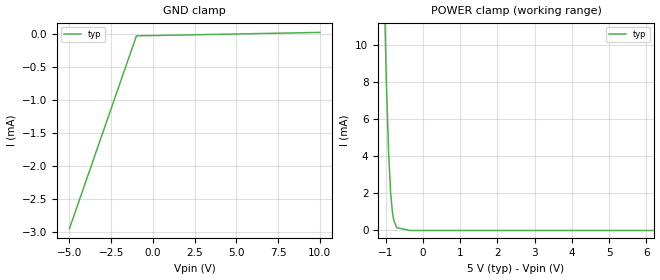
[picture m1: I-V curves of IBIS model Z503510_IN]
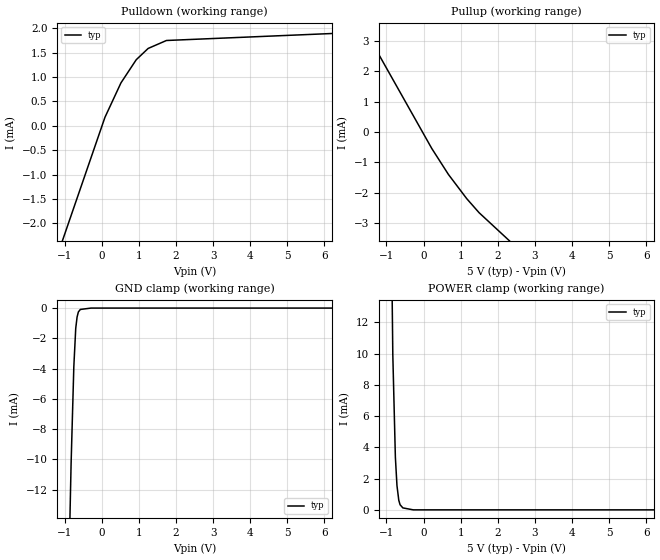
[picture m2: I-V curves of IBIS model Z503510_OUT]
| YOU ARE ONLY AUTHORIZED TO USE THIS SOFTWARE
| ACCORDING TO LICENSOR'S LICENSE RESTRICTIONS.
[IBIS Ver] 3.1
[File Name] mc14027bcp.ibs
[File Rev] 2.0
[Source] Measured and created by ICX Technology
[Date] Friday 7/14/00 9:07:52 AM
[Copyright]
| (C) COPYRIGHT 1993-2000
| MENTOR GRAPHICS CORPORATION
| ICX STANDARD LIBRARY, ICX PROJECT MODELING,
| ICX CUSTOM MODELING, ICX VENDOR MODEL
| ALL RIGHTS RESERVED.
| THE FOLLOWING ARE TRADEMARKS OR SERVICE MARKS OF
| MENTOR GRAPHICS CORPORATION:ICX (R), ICX STANDARD
| LIBRARY(R), ICX PROJECT MODELING(R), ICX CUSTOM
| MODELING(R), qualityIBIS(TM), MODELVIEWER(TM),
| AND MODELEDITOR(TM)
| ALL COPIES OF SOFTWARE, INCLUDING BUT NOT LIMITED TO
| ANY MODIFICATIONS, ENHANCEMENTS OR DERIVATIVE WORKS,
| MUST CONTAIN ALL MENTOR GRAPHICS CORPORATION'S
| NOTICES AND LEGENDS, INCLUDING THOSE EMBEDDED IN
| SOFTWARE AND THOSE AFFIXED TO SOFTWARE MEDIUM
| AND CONTAINER, AS RECEIVED FROM MENTOR GRAPHICS
| CORPORATION.
|  ZAP Model Builder 2.7
[Component] MC14027BCP
[Manufacturer] OnSemiconductor
[Package]
| variable   typ   min   max
R_pkg  .212ohms NA NA
L_pkg  4.758nH NA NA
C_pkg  1.143pF NA NA
[Pin] signal_name  model_name  R_pin  L_pin C_pin
1 QA Z503510_OUT .224 7.258n 1.578p
2 _QA Z503510_OUT .216 5.258n 1.288p
3 CA Z503510_IN .208 3.758n .998p
4 RA Z503510_IN .2 2.758n .708p
5 KA Z503510_IN .2 2.758n .708p
6 JA Z503510_IN .208 3.758n .998p
7 SA Z503510_IN .216 5.258n 1.288p
8 VSS GND .224 7.258n 1.578p
9 SB Z503510_IN .224 7.258n 1.578p
10 JB Z503510_IN .216 5.258n 1.288p
11 KB Z503510_IN .208 3.758n .998p
12 RB Z503510_IN .2 2.758n .708p
13 CB Z503510_IN .2 2.758n .708p
14 _QB Z503510_OUT .208 3.758n .998p
15 QB Z503510_OUT .216 5.258n 1.288p
16 VDD POWER .224 7.258n 1.578p
| Models and submodels in the file (2): Z503510_IN (Input), Z503510_OUT (Output)
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| (C) COPYRIGHT 1993-2000
| MENTOR GRAPHICS CORPORATION
| ICX STANDARD LIBRARY, ICX PROJECT MODELING,
| ICX CUSTOM MODELING, ICX VENDOR MODEL
| ALL RIGHTS RESERVED.
| THE FOLLOWING ARE TRADEMARKS OR SERVICE MARKS OF
| MENTOR GRAPHICS CORPORATION:ICX (R), ICX STANDARD
| LIBRARY(R), ICX PROJECT MODELING(R), ICX CUSTOM
| MODELING(R), qualityIBIS(TM), MODELVIEWER(TM),
| AND MODELEDITOR(TM)
| ALL COPIES OF SOFTWARE, INCLUDING BUT NOT LIMITED TO
| ANY MODIFICATIONS, ENHANCEMENTS OR DERIVATIVE WORKS,
| MUST CONTAIN ALL MENTOR GRAPHICS CORPORATION'S
| NOTICES AND LEGENDS, INCLUDING THOSE EMBEDDED IN
| SOFTWARE AND THOSE AFFIXED TO SOFTWARE MEDIUM
| AND CONTAINER, AS RECEIVED FROM MENTOR GRAPHICS
| CORPORATION.
| Model Application Version 1.89 2/18/99.
[Model] Z503510_IN
Model_type Input
Vinl = 1.500V
Vinh = 3.500V
C_comp 4.000pF NA NA
| variable typ   min   max
[Voltage Range] 5.000V NA NA
[GND Clamp Reference] 0.000V NA NA
[POWER Clamp Reference] 5.000V NA NA
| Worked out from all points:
|   POWER clamp passes 1 mA (typ) near -0.82 V on its own axis
[GND Clamp]
-5V       -2.944mA   NA         NA
-986.5mV  -26.27uA   NA         NA
10V       26.1uA     NA         NA
[POWER Clamp]
-5V       570.5mA    NA         NA
-1.22V    34.3mA     NA         NA
-1.059V   14.93mA    NA         NA
-986mV    8.301mA    NA         NA
-923mV    4.285mA    NA         NA
-869mV    2.055mA    NA         NA
-820mV    1.005mA    NA         NA
-785mV    571.3uA    NA         NA
-707mV    153uA      NA         NA
-353.5mV  0A         NA         NA
10V       0A         NA         NA
| (C) COPYRIGHT 1993-2000
| MENTOR GRAPHICS CORPORATION
| ICX STANDARD LIBRARY, ICX PROJECT MODELING,
| ICX CUSTOM MODELING, ICX VENDOR MODEL
| ALL RIGHTS RESERVED.
| THE FOLLOWING ARE TRADEMARKS OR SERVICE MARKS OF
| MENTOR GRAPHICS CORPORATION:ICX (R), ICX STANDARD
| LIBRARY(R), ICX PROJECT MODELING(R), ICX CUSTOM
| MODELING(R), qualityIBIS(TM), MODELVIEWER(TM),
| AND MODELEDITOR(TM)
| ALL COPIES OF SOFTWARE, INCLUDING BUT NOT LIMITED TO
| ANY MODIFICATIONS, ENHANCEMENTS OR DERIVATIVE WORKS,
| MUST CONTAIN ALL MENTOR GRAPHICS CORPORATION'S
| NOTICES AND LEGENDS, INCLUDING THOSE EMBEDDED IN
| SOFTWARE AND THOSE AFFIXED TO SOFTWARE MEDIUM
| AND CONTAINER, AS RECEIVED FROM MENTOR GRAPHICS
| CORPORATION.
| Model Application Version 1.89 2/18/99.
[Model] Z503510_OUT
Model_type Output
Vref=0.000V
Rref=500.0Mohms
Cref=50.00pF
Vmeas=2.500V
C_comp 8.000pF NA NA
| variable typ   min   max
[Voltage Range] 5.000V NA NA
[POWER Clamp Reference] 5.000V NA NA
[Pullup Reference] 5.000V NA NA
[Pulldown Reference] 0.000V NA NA
[GND Clamp Reference] 0.000V NA NA
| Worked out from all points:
|   slope of the pulldown table from 0 to 0.75 V, typ, clamps not added: 644 ohm
|   slope of the pullup table from 0 to 0.75 V, typ, clamps not added: 512 ohm
|   GND clamp passes 1 mA (typ) near -0.68 V on its own axis
|   POWER clamp passes 1 mA (typ) near -0.69 V on its own axis
[GND Clamp]
-5V       -484.2mA   NA         NA
-825.2mV  -10.26mA   NA         NA
-752mV    -3.87mA    NA         NA
-700.4mV  -1.331mA   NA         NA
-664.1mV  -590.4uA   NA         NA
-629.7mV  -254.4uA   NA         NA
-576.1mV  -90.83uA   NA         NA
-288mV    0A         NA         NA
10V       0A         NA         NA
[Pulldown]
-5V       -11.06mA   NA         NA
86.4mV    173.3uA    NA         NA
517.6mV   879.1uA    NA         NA
929.5mV   1.354mA    NA         NA
1.25V     1.585mA    NA         NA
1.743V    1.748mA    NA         NA
10V       2.013mA    NA         NA
[Pullup]
-5V       10.78mA    NA         NA
220mV     -540uA     NA         NA
669mV     -1.396mA   NA         NA
1.162V    -2.193mA   NA         NA
1.494V    -2.654mA   NA         NA
10V       -12.29mA   NA         NA
[POWER Clamp]
-5V       886.6mA    NA         NA
-830mV    9.933mA    NA         NA
-761mV    3.382mA    NA         NA
-718mV    1.554mA    NA         NA
-669mV    611.8uA    NA         NA
-634mV    326.7uA    NA         NA
-559mV    125.4uA    NA         NA
-279.5mV  0A         NA         NA
10V       0A         NA         NA
[Ramp]
| variable typ min max
dV/dt_r 2.494/23.81n NA NA
dV/dt_f 2.494/41.94n NA NA
R_load = 2.500kOhms
